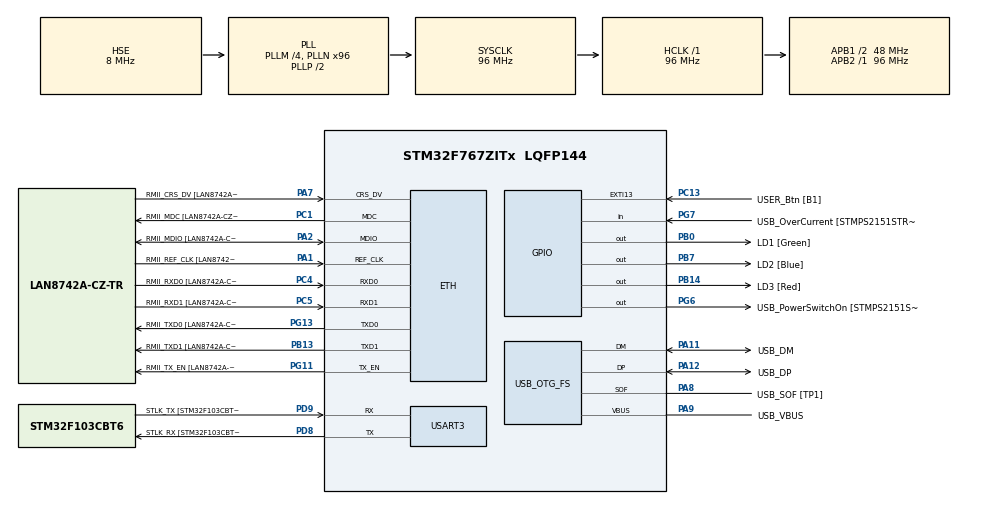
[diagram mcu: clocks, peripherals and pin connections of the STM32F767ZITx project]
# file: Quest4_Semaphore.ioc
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ETH.MediaInterface=HAL_ETH_RMII_MODE
ETH.PHY_Name=LAN8742A_PHY_ADDRESS
ETH.PHY_Value=0
ETH.PhyAddress=0
FREERTOS.Mutexes01=myMutex01,Dynamic,NULL,Available
FREERTOS.Tasks01=myTask01,25,128,StartTask01,Default,NULL,Dynamic,NULL,NULL;myTask02,24,128,StartTask02,Default,NULL,Dynamic,NULL,NULL
FREERTOS.configUSE_NEWLIB_REENTRANT=1
Mcu.Family=STM32F7
Mcu.Name=STM32F767ZITx
Mcu.Package=LQFP144
NVIC.PriorityGroup=NVIC_PRIORITYGROUP_4
NVIC.TIM1_UP_TIM10_IRQn=true\:15\:0\:false\:false\:true\:false\:false\:true\:true
NVIC.TimeBase=TIM1_UP_TIM10_IRQn
NVIC.TimeBaseIP=TIM1
PA1.GPIO_Label=RMII_REF_CLK [LAN8742A-CZ-TR_REFCLK0]
PA1.Mode=RMII
PA1.Signal=ETH_REF_CLK
PA10.GPIO_Label=USB_ID
PA10.Signal=USB_OTG_FS_ID
PA11.GPIO_Label=USB_DM
PA11.Mode=Device_Only
PA11.Signal=USB_OTG_FS_DM
PA12.GPIO_Label=USB_DP
PA12.Mode=Device_Only
PA12.Signal=USB_OTG_FS_DP
PA13.GPIO_Label=TMS
PA13.Mode=Serial_Wire
PA13.Signal=SYS_JTMS-SWDIO
PA14.GPIO_Label=TCK
PA14.Mode=Serial_Wire
PA14.Signal=SYS_JTCK-SWCLK
PA2.GPIO_Label=RMII_MDIO [LAN8742A-CZ-TR_MDIO]
PA2.Mode=RMII
PA2.Signal=ETH_MDIO
PA7.GPIO_Label=RMII_CRS_DV [LAN8742A-CZ-TR_CRS_DV]
PA7.Mode=RMII
PA7.Signal=ETH_CRS_DV
PA8.GPIO_Label=USB_SOF [TP1]
PA8.Mode=Activate_SOF_FS
PA8.Signal=USB_OTG_FS_SOF
PA9.GPIO_Label=USB_VBUS
PA9.Mode=Activate_VBUS
PA9.Signal=USB_OTG_FS_VBUS
PB0.GPIO_Label=LD1 [Green]
PB0.Signal=GPIO_Output
PB13.GPIO_Label=RMII_TXD1 [LAN8742A-CZ-TR_TXD1]
PB13.Mode=RMII
PB13.Signal=ETH_TXD1
PB14.GPIO_Label=LD3 [Red]
PB14.Signal=GPIO_Output
PB3.GPIO_Label=SWO
PB3.Signal=SYS_JTDO-SWO
PB7.GPIO_Label=LD2 [Blue]
PB7.Signal=GPIO_Output
PC1.GPIO_Label=RMII_MDC [LAN8742A-CZ-TR_MDC]
PC1.Mode=RMII
PC1.Signal=ETH_MDC
PC13.GPIO_Label=USER_Btn [B1]
PC13.Signal=GPXTI13
PC14/OSC32_IN.Mode=LSE-External-Oscillator
PC14/OSC32_IN.Signal=RCC_OSC32_IN
PC15/OSC32_OUT.Mode=LSE-External-Oscillator
PC15/OSC32_OUT.Signal=RCC_OSC32_OUT
PC4.GPIO_Label=RMII_RXD0 [LAN8742A-CZ-TR_RXD0]
PC4.Mode=RMII
PC4.Signal=ETH_RXD0
PC5.GPIO_Label=RMII_RXD1 [LAN8742A-CZ-TR_RXD1]
PC5.Mode=RMII
PC5.Signal=ETH_RXD1
PD8.GPIO_Label=STLK_RX [STM32F103CBT6_PA3]
PD8.Mode=Asynchronous
PD8.Signal=USART3_TX
PD9.GPIO_Label=STLK_TX [STM32F103CBT6_PA2]
PD9.Mode=Asynchronous
PD9.Signal=USART3_RX
PG11.GPIO_Label=RMII_TX_EN [LAN8742A-CZ-TR_TXEN]
PG11.Mode=RMII
PG11.Signal=ETH_TX_EN
PG13.GPIO_Label=RMII_TXD0 [LAN8742A-CZ-TR_TXD0]
PG13.Mode=RMII
PG13.Signal=ETH_TXD0
PG6.GPIO_Label=USB_PowerSwitchOn [STMPS2151STR_EN]
PG6.Signal=GPIO_Output
PG7.GPIO_Label=USB_OverCurrent [STMPS2151STR_FAULT]
PG7.Signal=GPIO_Input
PH0/OSC_IN.GPIO_Label=MCO [STM32F103CBT6_PA8]
PH0/OSC_IN.Mode=HSE-External-Oscillator
PH0/OSC_IN.Signal=RCC_OSC_IN
PH1/OSC_OUT.Mode=HSE-External-Oscillator
PH1/OSC_OUT.Signal=RCC_OSC_OUT
ProjectManager.HeapSize=0x200
ProjectManager.StackSize=0x400
ProjectManager.TargetToolchain=STM32CubeIDE
RCC.48MHZClocksFreq_Value=24000000
RCC.AHBFreq_Value=96000000
RCC.APB1CLKDivider=RCC_HCLK_DIV2
RCC.APB1Freq_Value=48000000
RCC.APB1TimFreq_Value=96000000
RCC.APB2Freq_Value=96000000
RCC.APB2TimFreq_Value=96000000
RCC.CortexFreq_Value=96000000
RCC.HCLKFreq_Value=96000000
RCC.HSE_VALUE=8000000
RCC.HSI_VALUE=16000000
RCC.PLLM=4
RCC.PLLMUL=RCC_PLL_MUL9
RCC.PLLN=96
RCC.PLLQ=4
RCC.PRESCALERUSB=RCC_USBCLKSOURCE_PLL_DIV1_5
RCC.SYSCLKFreq_VALUE=96000000
RCC.SYSCLKSource=RCC_SYSCLKSOURCE_PLLCLK
RCC.SYSCLKSourceVirtual=RCC_SYSCLKSOURCE_PLLCLK
RCC.USBFreq_Value=48000000
RCC.VCOOutputFreq_Value=192000000
USART3.VirtualMode-Asynchronous=VM_ASYNC
USB_OTG_FS.VirtualMode=Device_Only
VP_FREERTOS_VS_CMSIS_V2.Mode=CMSIS_V2
VP_SYS_VS_tim1.Mode=TIM1
board=NUCLEO-F767ZI

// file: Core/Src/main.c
/* USER CODE BEGIN Header */
/**
  ******************************************************************************
  * @file           : main.c
  * @brief          : Main program body
  ******************************************************************************
  * @attention
  *
  * Copyright (c) 2025 STMicroelectronics.
  * All rights reserved.
  *
  * This software is licensed under terms that can be found in the LICENSE file
  * in the root directory of this software component.
  * If no LICENSE file comes with this software, it is provided AS-IS.
  *
  ******************************************************************************
  */
/* USER CODE END Header */
#include "main.h"
#include "string.h"
#include "cmsis_os.h"

#if defined ( __ICCARM__ ) /*!< IAR Compiler */
#pragma location=0x2007c000
ETH_DMADescTypeDef  DMARxDscrTab[ETH_RX_DESC_CNT]; /* Ethernet Rx DMA Descriptors */
#pragma location=0x2007c0a0
ETH_DMADescTypeDef  DMATxDscrTab[ETH_TX_DESC_CNT]; /* Ethernet Tx DMA Descriptors */

#elif defined ( __CC_ARM )  /* MDK ARM Compiler */

__attribute__((at(0x2007c000))) ETH_DMADescTypeDef  DMARxDscrTab[ETH_RX_DESC_CNT]; /* Ethernet Rx DMA Descriptors */
__attribute__((at(0x2007c0a0))) ETH_DMADescTypeDef  DMATxDscrTab[ETH_TX_DESC_CNT]; /* Ethernet Tx DMA Descriptors */

#elif defined ( __GNUC__ ) /* GNU Compiler */

ETH_DMADescTypeDef DMARxDscrTab[ETH_RX_DESC_CNT] __attribute__((section(".RxDecripSection"))); /* Ethernet Rx DMA Descriptors */
ETH_DMADescTypeDef DMATxDscrTab[ETH_TX_DESC_CNT] __attribute__((section(".TxDecripSection")));   /* Ethernet Tx DMA Descriptors */
#endif

ETH_TxPacketConfig TxConfig;

ETH_HandleTypeDef heth;

UART_HandleTypeDef huart3;

PCD_HandleTypeDef hpcd_USB_OTG_FS;

/* Definitions for myTask01 */
osThreadId_t myTask01Handle;
const osThreadAttr_t myTask01_attributes = {
  .name = "myTask01",
  .stack_size = 128 * 4,
  .priority = (osPriority_t) osPriorityNormal1,
};
/* Definitions for myTask02 */
osThreadId_t myTask02Handle;
const osThreadAttr_t myTask02_attributes = {
  .name = "myTask02",
  .stack_size = 128 * 4,
  .priority = (osPriority_t) osPriorityNormal,
};
/* Definitions for myMutex01 */
osMutexId_t myMutex01Handle;
const osMutexAttr_t myMutex01_attributes = {
  .name = "myMutex01"
};

void SystemClock_Config(void);
static void MX_GPIO_Init(void);
static void MX_ETH_Init(void);
static void MX_USART3_UART_Init(void);
static void MX_USB_OTG_FS_PCD_Init(void);
void StartTask01(void *argument);
void StartTask02(void *argument);

int main(void)
{

  /* MCU Configuration--------------------------------------------------------*/

  /* Reset of all peripherals, Initializes the Flash interface and the Systick. */
  HAL_Init();

  /* Configure the system clock */
  SystemClock_Config();

  /* Initialize all configured peripherals */
  MX_GPIO_Init();
  MX_ETH_Init();
  MX_USART3_UART_Init();
  MX_USB_OTG_FS_PCD_Init();

  /* Init scheduler */
  osKernelInitialize();
  /* Create the mutex(es) */
  /* creation of myMutex01 */
  myMutex01Handle = osMutexNew(&myMutex01_attributes);

  /* Create the thread(s) */
  /* creation of myTask01 */
  myTask01Handle = osThreadNew(StartTask01, NULL, &myTask01_attributes);

  /* creation of myTask02 */
  myTask02Handle = osThreadNew(StartTask02, NULL, &myTask02_attributes);

  /* Start scheduler */
  osKernelStart();

  /* We should never get here as control is now taken by the scheduler */

  /* Infinite loop */
  while (1)
  {

  }
}

void SystemClock_Config(void)
{
  RCC_OscInitTypeDef RCC_OscInitStruct = {0};
  RCC_ClkInitTypeDef RCC_ClkInitStruct = {0};

  /** Configure LSE Drive Capability
  */
  HAL_PWR_EnableBkUpAccess();

  /** Configure the main internal regulator output voltage
  */
  __HAL_RCC_PWR_CLK_ENABLE();
  __HAL_PWR_VOLTAGESCALING_CONFIG(PWR_REGULATOR_VOLTAGE_SCALE3);

  /** Initializes the RCC Oscillators according to the specified parameters
  * in the RCC_OscInitTypeDef structure.
  */
  RCC_OscInitStruct.OscillatorType = RCC_OSCILLATORTYPE_HSE;
  RCC_OscInitStruct.HSEState = RCC_HSE_ON;
  RCC_OscInitStruct.PLL.PLLState = RCC_PLL_ON;
  RCC_OscInitStruct.PLL.PLLSource = RCC_PLLSOURCE_HSE;
  RCC_OscInitStruct.PLL.PLLM = 4;
  RCC_OscInitStruct.PLL.PLLN = 96;
  RCC_OscInitStruct.PLL.PLLP = RCC_PLLP_DIV2;
  RCC_OscInitStruct.PLL.PLLQ = 4;
  RCC_OscInitStruct.PLL.PLLR = 2;
  if (HAL_RCC_OscConfig(&RCC_OscInitStruct) != HAL_OK)
  {
    Error_Handler();
  }

  /** Activate the Over-Drive mode
  */
  if (HAL_PWREx_EnableOverDrive() != HAL_OK)
  {
    Error_Handler();
  }

  /** Initializes the CPU, AHB and APB buses clocks
  */
  RCC_ClkInitStruct.ClockType = RCC_CLOCKTYPE_HCLK|RCC_CLOCKTYPE_SYSCLK
                              |RCC_CLOCKTYPE_PCLK1|RCC_CLOCKTYPE_PCLK2;
  RCC_ClkInitStruct.SYSCLKSource = RCC_SYSCLKSOURCE_PLLCLK;
  RCC_ClkInitStruct.AHBCLKDivider = RCC_SYSCLK_DIV1;
  RCC_ClkInitStruct.APB1CLKDivider = RCC_HCLK_DIV2;
  RCC_ClkInitStruct.APB2CLKDivider = RCC_HCLK_DIV1;

  if (HAL_RCC_ClockConfig(&RCC_ClkInitStruct, FLASH_LATENCY_3) != HAL_OK)
  {
    Error_Handler();
  }
}

static void MX_ETH_Init(void)
{

   static uint8_t MACAddr[6];

  heth.Instance = ETH;
  MACAddr[0] = 0x00;
  MACAddr[1] = 0x80;
  MACAddr[2] = 0xE1;
  MACAddr[3] = 0x00;
  MACAddr[4] = 0x00;
  MACAddr[5] = 0x00;
  heth.Init.MACAddr = &MACAddr[0];
  heth.Init.MediaInterface = HAL_ETH_RMII_MODE;
  heth.Init.TxDesc = DMATxDscrTab;
  heth.Init.RxDesc = DMARxDscrTab;
  heth.Init.RxBuffLen = 1524;

  if (HAL_ETH_Init(&heth) != HAL_OK)
  {
    Error_Handler();
  }

  memset(&TxConfig, 0 , sizeof(ETH_TxPacketConfig));
  TxConfig.Attributes = ETH_TX_PACKETS_FEATURES_CSUM | ETH_TX_PACKETS_FEATURES_CRCPAD;
  TxConfig.ChecksumCtrl = ETH_CHECKSUM_IPHDR_PAYLOAD_INSERT_PHDR_CALC;
  TxConfig.CRCPadCtrl = ETH_CRC_PAD_INSERT;

}

static void MX_USART3_UART_Init(void)
{

  huart3.Instance = USART3;
  huart3.Init.BaudRate = 115200;
  huart3.Init.WordLength = UART_WORDLENGTH_8B;
  huart3.Init.StopBits = UART_STOPBITS_1;
  huart3.Init.Parity = UART_PARITY_NONE;
  huart3.Init.Mode = UART_MODE_TX_RX;
  huart3.Init.HwFlowCtl = UART_HWCONTROL_NONE;
  huart3.Init.OverSampling = UART_OVERSAMPLING_16;
  huart3.Init.OneBitSampling = UART_ONE_BIT_SAMPLE_DISABLE;
  huart3.AdvancedInit.AdvFeatureInit = UART_ADVFEATURE_NO_INIT;
  if (HAL_UART_Init(&huart3) != HAL_OK)
  {
    Error_Handler();
  }

}

static void MX_USB_OTG_FS_PCD_Init(void)
{

  hpcd_USB_OTG_FS.Instance = USB_OTG_FS;
  hpcd_USB_OTG_FS.Init.dev_endpoints = 6;
  hpcd_USB_OTG_FS.Init.speed = PCD_SPEED_FULL;
  hpcd_USB_OTG_FS.Init.dma_enable = DISABLE;
  hpcd_USB_OTG_FS.Init.phy_itface = PCD_PHY_EMBEDDED;
  hpcd_USB_OTG_FS.Init.Sof_enable = ENABLE;
  hpcd_USB_OTG_FS.Init.low_power_enable = DISABLE;
  hpcd_USB_OTG_FS.Init.lpm_enable = DISABLE;
  hpcd_USB_OTG_FS.Init.vbus_sensing_enable = ENABLE;
  hpcd_USB_OTG_FS.Init.use_dedicated_ep1 = DISABLE;
  if (HAL_PCD_Init(&hpcd_USB_OTG_FS) != HAL_OK)
  {
    Error_Handler();
  }

}

static void MX_GPIO_Init(void)
{
  GPIO_InitTypeDef GPIO_InitStruct = {0};

  /* GPIO Ports Clock Enable */
  __HAL_RCC_GPIOC_CLK_ENABLE();
  __HAL_RCC_GPIOH_CLK_ENABLE();
  __HAL_RCC_GPIOA_CLK_ENABLE();
  __HAL_RCC_GPIOB_CLK_ENABLE();
  __HAL_RCC_GPIOD_CLK_ENABLE();
  __HAL_RCC_GPIOG_CLK_ENABLE();

  /*Configure GPIO pin Output Level */
  HAL_GPIO_WritePin(GPIOB, LD1_Pin|LD3_Pin|LD2_Pin, GPIO_PIN_RESET);

  /*Configure GPIO pin Output Level */
  HAL_GPIO_WritePin(USB_PowerSwitchOn_GPIO_Port, USB_PowerSwitchOn_Pin, GPIO_PIN_RESET);

  /*Configure GPIO pin : USER_Btn_Pin */
  GPIO_InitStruct.Pin = USER_Btn_Pin;
  GPIO_InitStruct.Mode = GPIO_MODE_IT_RISING;
  GPIO_InitStruct.Pull = GPIO_NOPULL;
  HAL_GPIO_Init(USER_Btn_GPIO_Port, &GPIO_InitStruct);

  /*Configure GPIO pins : LD1_Pin LD3_Pin LD2_Pin */
  GPIO_InitStruct.Pin = LD1_Pin|LD3_Pin|LD2_Pin;
  GPIO_InitStruct.Mode = GPIO_MODE_OUTPUT_PP;
  GPIO_InitStruct.Pull = GPIO_NOPULL;
  GPIO_InitStruct.Speed = GPIO_SPEED_FREQ_LOW;
  HAL_GPIO_Init(GPIOB, &GPIO_InitStruct);

  /*Configure GPIO pin : USB_PowerSwitchOn_Pin */
  GPIO_InitStruct.Pin = USB_PowerSwitchOn_Pin;
  GPIO_InitStruct.Mode = GPIO_MODE_OUTPUT_PP;
  GPIO_InitStruct.Pull = GPIO_NOPULL;
  GPIO_InitStruct.Speed = GPIO_SPEED_FREQ_LOW;
  HAL_GPIO_Init(USB_PowerSwitchOn_GPIO_Port, &GPIO_InitStruct);

  /*Configure GPIO pin : USB_OverCurrent_Pin */
  GPIO_InitStruct.Pin = USB_OverCurrent_Pin;
  GPIO_InitStruct.Mode = GPIO_MODE_INPUT;
  GPIO_InitStruct.Pull = GPIO_NOPULL;
  HAL_GPIO_Init(USB_OverCurrent_GPIO_Port, &GPIO_InitStruct);

}

void StartTask01(void *argument)
{
  /* USER CODE BEGIN 5 */
	osStatus_t status1;
  /* Infinite loop */
  for(;;)
  {
	char *str1 = "Task01! Tentando adquirir o Mutex\n\r";
	HAL_UART_Transmit(&huart3, (uint8_t*) str1, strlen(str1), 100);

	status1 = osMutexAcquire(myMutex01Handle, osWaitForever);

	if(status1 == osOK)
	{
		char *str2 = "Task01! Mutex adquirido\n\r";
		HAL_UART_Transmit(&huart3, (uint8_t*) str2, strlen(str2), 100);
	}

	HAL_GPIO_TogglePin(LD1_GPIO_Port, LD1_Pin);
    osDelay(1000);
  }
  /* USER CODE END 5 */
}

void StartTask02(void *argument)
{
  /* USER CODE BEGIN StartTask02 */
	osStatus_t status2;
  /* Infinite loop */
  for(;;)
  {

	char *str1 = "Task02! tentativa de Release\n\r";
	HAL_UART_Transmit(&huart3, (uint8_t*) str1, strlen(str1), 100);

	status2 = osMutexRelease(myMutex01Handle);

	if(status2 == osOK)
	{
		char *str2 = "Task02! Mutex liberado para a Task1\n\r";
		HAL_UART_Transmit(&huart3, (uint8_t*) str2, strlen(str2), 100);
	}

	else
	{
		char *str3 = "Task02! Mutex nao liberado para Task1\n\r";
		HAL_UART_Transmit(&huart3, (uint8_t*) str3, strlen(str3), 100);
	}

	HAL_GPIO_TogglePin(LD3_GPIO_Port, LD3_Pin);
	osDelay(1000);
  }
  /* USER CODE END StartTask02 */
}

void HAL_TIM_PeriodElapsedCallback(TIM_HandleTypeDef *htim)
{
  if (htim->Instance == TIM1)
  {
    HAL_IncTick();
  }
}

void Error_Handler(void)
{
  __disable_irq();
  while (1)
  {
  }
}
